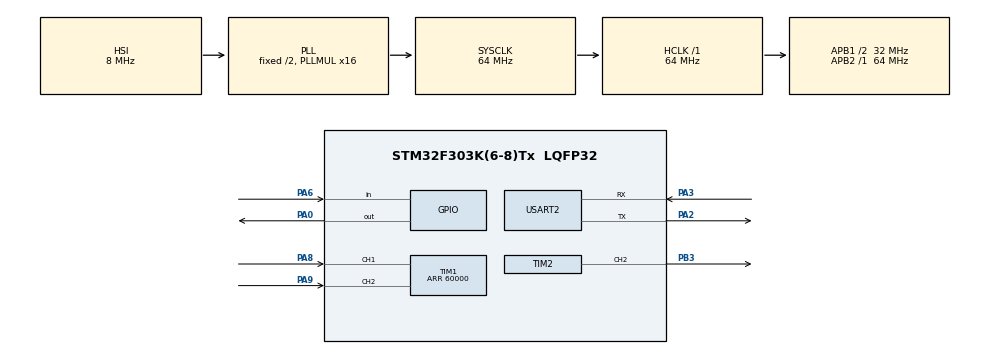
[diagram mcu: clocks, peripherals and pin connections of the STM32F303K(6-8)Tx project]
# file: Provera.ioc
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Mcu.Family=STM32F3
Mcu.Name=STM32F303K(6-8)Tx
Mcu.Package=LQFP32
NVIC.PriorityGroup=NVIC_PRIORITYGROUP_4
PA0.Signal=GPIO_Output
PA2.Mode=Asynchronous
PA2.Signal=USART2_TX
PA3.Mode=Asynchronous
PA3.Signal=USART2_RX
PA6.GPIO_PuPd=GPIO_PULLUP
PA6.Signal=GPIO_Input
PA8.Signal=S_TIM1_CH1
PA9.Signal=S_TIM1_CH2
PB3.Signal=S_TIM2_CH2
ProjectManager.HeapSize=0x200
ProjectManager.StackSize=0x400
ProjectManager.TargetToolchain=TrueSTUDIO
RCC.AHBFreq_Value=64000000
RCC.APB1CLKDivider=RCC_HCLK_DIV2
RCC.APB1Freq_Value=32000000
RCC.APB1TimFreq_Value=64000000
RCC.APB2Freq_Value=64000000
RCC.APB2TimFreq_Value=64000000
RCC.CortexFreq_Value=64000000
RCC.HCLKFreq_Value=64000000
RCC.HSE_VALUE=8000000
RCC.HSI_VALUE=8000000
RCC.PLLMUL=RCC_PLL_MUL16
RCC.SYSCLKFreq_VALUE=64000000
RCC.SYSCLKSourceVirtual=RCC_SYSCLKSOURCE_PLLCLK
SH.S_TIM1_CH1.0=TIM1_CH1,Encoder_Interface
SH.S_TIM1_CH2.0=TIM1_CH2,Encoder_Interface
SH.S_TIM2_CH2.0=TIM2_CH2,PWM Generation2 CH2
TIM1.EncoderMode=TIM_ENCODERMODE_TI12
TIM1.Period=60000
TIM2.Channel-PWM\ Generation2\ CH2=TIM_CHANNEL_2
TIM2.Period=100
TIM2.Prescaler=640
USART2.VirtualMode-Asynchronous=VM_ASYNC
VP_TIM2_VS_ClockSourceINT.Mode=Internal
board=Provera

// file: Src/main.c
/**
 ******************************************************************************
 * @file           : main.c
 * @brief          : Main program body
 ******************************************************************************
 ** This notice applies to any and all portions of this file
 * that are not between comment pairs USER CODE BEGIN and
 * USER CODE END. Other portions of this file, whether
 * inserted by the user or by software development tools
 * are owned by their respective copyright owners.
 *
 * COPYRIGHT(c) 2018 STMicroelectronics
 *
 * Redistribution and use in source and binary forms, with or without modification,
 * are permitted provided that the following conditions are met:
 *   1. Redistributions of source code must retain the above copyright notice,
 *      this list of conditions and the following disclaimer.
 *   2. Redistributions in binary form must reproduce the above copyright notice,
 *      this list of conditions and the following disclaimer in the documentation
 *      and/or other materials provided with the distribution.
 *   3. Neither the name of STMicroelectronics nor the names of its contributors
 *      may be used to endorse or promote products derived from this software
 *      without specific prior written permission.
 *
 * THIS SOFTWARE IS PROVIDED BY THE COPYRIGHT HOLDERS AND CONTRIBUTORS "AS IS"
 * AND ANY EXPRESS OR IMPLIED WARRANTIES, INCLUDING, BUT NOT LIMITED TO, THE
 * IMPLIED WARRANTIES OF MERCHANTABILITY AND FITNESS FOR A PARTICULAR PURPOSE ARE
 * DISCLAIMED. IN NO EVENT SHALL THE COPYRIGHT HOLDER OR CONTRIBUTORS BE LIABLE
 * FOR ANY DIRECT, INDIRECT, INCIDENTAL, SPECIAL, EXEMPLARY, OR CONSEQUENTIAL
 * DAMAGES (INCLUDING, BUT NOT LIMITED TO, PROCUREMENT OF SUBSTITUTE GOODS OR
 * SERVICES; LOSS OF USE, DATA, OR PROFITS; OR BUSINESS INTERRUPTION) HOWEVER
 * CAUSED AND ON ANY THEORY OF LIABILITY, WHETHER IN CONTRACT, STRICT LIABILITY,
 * OR TORT (INCLUDING NEGLIGENCE OR OTHERWISE) ARISING IN ANY WAY OUT OF THE USE
 * OF THIS SOFTWARE, EVEN IF ADVISED OF THE POSSIBILITY OF SUCH DAMAGE.
 *
 ******************************************************************************
 */
#include "main.h"
#include "stm32f3xx_hal.h"
#include "tim.h"
#include "usart.h"
#include "gpio.h"

/* USER CODE BEGIN Includes */
#define FORWARD         0                      // direction of rotation
#define BACKWARD        1
#define DIRECTION_THRESHOLD 40960
#define PPR 60000
#define BUFF_64 64
#define BUFF_128 128
/* USER CODE END Includes */

/* USER CODE BEGIN PV */
/* Private variables ---------------------------------------------------------*/
int temp=0;
int old_temp=0;
/* USER CODE END PV */

void SystemClock_Config(void);

/* USER CODE BEGIN PFP */
/* Private function prototypes -----------------------------------------------*/
int ticks_diff(int old, int new);
void transmit_int(char letter, int number, int nlflag);
int str2int(char *str);
void transmit_string(char msg[], int nlflag);
/* USER CODE END PFP */

int main(void)
{

	/* MCU Configuration----------------------------------------------------------*/

	/* Reset of all peripherals, Initializes the Flash interface and the Systick. */
	HAL_Init();

	/* Configure the system clock */
	SystemClock_Config();

	/* Initialize all configured peripherals */
	MX_GPIO_Init();
	MX_TIM2_Init();
	MX_TIM1_Init();
	MX_USART2_UART_Init();
	/* USER CODE BEGIN 2 */
	HAL_TIM_Encoder_Start(&htim1, TIM_CHANNEL_ALL);
	HAL_TIM_PWM_Start(&htim2,TIM_CHANNEL_2);
	/* USER CODE END 2 */

	/* Infinite loop */
	/* USER CODE BEGIN WHILE */
	// direction of rotation

	/*long count = 0;                                 // rotation counter
  long countInit;
  long tickNumber = 0;*/
	//boolean run = false;

	moveMotor(10000);
			HAL_Delay(3000);
			moveMotor(-10000);
	while (1)
	{

		/* USER CODE END WHILE */

	}

}

void SystemClock_Config(void)
{

	RCC_OscInitTypeDef RCC_OscInitStruct;
	RCC_ClkInitTypeDef RCC_ClkInitStruct;
	RCC_PeriphCLKInitTypeDef PeriphClkInit;

	/**Initializes the CPU, AHB and APB busses clocks
	 */
	RCC_OscInitStruct.OscillatorType = RCC_OSCILLATORTYPE_HSI;
	RCC_OscInitStruct.HSIState = RCC_HSI_ON;
	RCC_OscInitStruct.HSICalibrationValue = 16;
	RCC_OscInitStruct.PLL.PLLState = RCC_PLL_ON;
	RCC_OscInitStruct.PLL.PLLSource = RCC_PLLSOURCE_HSI;
	RCC_OscInitStruct.PLL.PLLMUL = RCC_PLL_MUL16;
	if (HAL_RCC_OscConfig(&RCC_OscInitStruct) != HAL_OK)
	{
		_Error_Handler(__FILE__, __LINE__);
	}

	/**Initializes the CPU, AHB and APB busses clocks
	 */
	RCC_ClkInitStruct.ClockType = RCC_CLOCKTYPE_HCLK|RCC_CLOCKTYPE_SYSCLK
			|RCC_CLOCKTYPE_PCLK1|RCC_CLOCKTYPE_PCLK2;
	RCC_ClkInitStruct.SYSCLKSource = RCC_SYSCLKSOURCE_PLLCLK;
	RCC_ClkInitStruct.AHBCLKDivider = RCC_SYSCLK_DIV1;
	RCC_ClkInitStruct.APB1CLKDivider = RCC_HCLK_DIV2;
	RCC_ClkInitStruct.APB2CLKDivider = RCC_HCLK_DIV1;

	if (HAL_RCC_ClockConfig(&RCC_ClkInitStruct, FLASH_LATENCY_2) != HAL_OK)
	{
		_Error_Handler(__FILE__, __LINE__);
	}

	PeriphClkInit.PeriphClockSelection = RCC_PERIPHCLK_TIM1;
	PeriphClkInit.Tim1ClockSelection = RCC_TIM1CLK_HCLK;
	if (HAL_RCCEx_PeriphCLKConfig(&PeriphClkInit) != HAL_OK)
	{
		_Error_Handler(__FILE__, __LINE__);
	}

	/**Configure the Systick interrupt time
	 */
	HAL_SYSTICK_Config(HAL_RCC_GetHCLKFreq()/1000);

	/**Configure the Systick
	 */
	HAL_SYSTICK_CLKSourceConfig(SYSTICK_CLKSOURCE_HCLK);

	/* SysTick_IRQn interrupt configuration */
	HAL_NVIC_SetPriority(SysTick_IRQn, 0, 0);
}

/* USER CODE BEGIN 4 */
void motorForward(){

}

void motorBackward(){

	HAL_GPIO_WritePin(GPIOA,GPIO_PIN_0,GPIO_PIN_RESET);
}
void motorStop(){
	__HAL_TIM_SET_COMPARE(&htim2,TIM_CHANNEL_2,0);
}
void moveMotor(long ref)
{
	/*countInit = count;    // abs(count)
	 tickNumber = tick;*/

	int i=0;
	float Kp=1;
	double Ki=0;
	float Kd=2.6;
	int e=0;
	int old_e=0;
	int sum_e=0;
	HAL_TIM_PWM_Start(&htim2,TIM_CHANNEL_2);
	do {
		temp+=ticks_diff(old_temp,__HAL_TIM_GET_COUNTER(&htim1));
		old_temp=__HAL_TIM_GET_COUNTER(&htim1);
		e=ref-temp;
		sum_e+=e;
		i=Kp*e+ sum_e*Ki+ Kd*(e-old_e);

		if(i<0)
		{
			HAL_GPIO_WritePin(GPIOA,GPIO_PIN_0,GPIO_PIN_SET);
			i=-i;
		}
		else
			HAL_GPIO_WritePin(GPIOA,GPIO_PIN_0,GPIO_PIN_RESET);
		if(i>100)
		{
			i=100;
		}
		__HAL_TIM_SET_COMPARE(&htim2,TIM_CHANNEL_2,i);
		old_e=e;
		HAL_Delay(10);
	 transmit_int('e',e,1);
	 transmit_int('t',temp,1);

	}while(fabs(e)>20);
	HAL_TIM_PWM_Stop(&htim2,TIM_CHANNEL_2);
}

int ticks_diff(int old, int new)
{
	int temp_diff = new - old;

	if((fabs(temp_diff)) < DIRECTION_THRESHOLD)
	{
		return temp_diff;
	}
	else
	{
		if(temp_diff > 0){
			return PPR - temp_diff;
		}else{
			return -PPR - temp_diff;
		}

	}

}
void transmit_int(char letter, int number, int nlflag)
{
	uint8_t buf[BUFF_64]="";

	if(nlflag){
		snprintf((char*)buf, BUFF_64+1,"%c:%d\n",letter,number);
	}else{
		snprintf((char*)buf, BUFF_64+1,"%c:%d|",letter,number);
	}
	HAL_UART_Transmit(&huart2, (uint8_t *)buf, strlen((char *)buf), 100);
}
int str2int(char *str)
{
  int  result;
  int  sing;

  result = 0;
  sing = 1;
  while (('-' == (*str)) || ((*str) == '+'))
    {
      if (*str == '-')
    	  sing = sing * -1;
      str++;
    }
  while ((*str >= '0') && (*str <= '9'))
    {
      result = (result * 10) + ((*str) - '0');
      str++;
    }
  return (result * sing);
}

void transmit_string(char msg[], int nlflag)
{
	uint8_t buf[BUFF_128]="";
	if(nlflag){
		snprintf((char*)buf, BUFF_128, "%s\n", msg);
	}else{
		snprintf((char*)buf, BUFF_128, "%s", msg);
	}
	HAL_UART_Transmit(&huart2, (uint8_t *)buf, strlen((char *)buf), 100);
}
/* USER CODE END 4 */

void _Error_Handler(char *file, int line)
{
	while(1)
	{
	}
}

/************************ (C) COPYRIGHT STMicroelectronics *****END OF FILE****/
